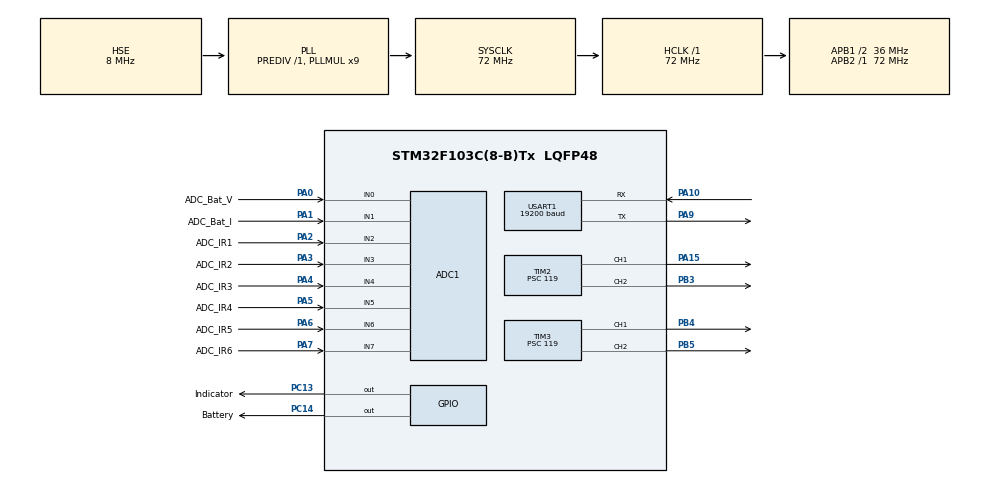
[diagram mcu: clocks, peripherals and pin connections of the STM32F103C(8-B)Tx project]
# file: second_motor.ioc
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ADC1.AutoInjectedConv=DISABLE
ADC1.Channel-0\#ChannelRegularConversion=ADC_CHANNEL_0
ADC1.Channel-1\#ChannelRegularConversion=ADC_CHANNEL_1
ADC1.Channel-2\#ChannelRegularConversion=ADC_CHANNEL_2
ADC1.Channel-3\#ChannelRegularConversion=ADC_CHANNEL_3
ADC1.Channel-4\#ChannelRegularConversion=ADC_CHANNEL_4
ADC1.Channel-5\#ChannelRegularConversion=ADC_CHANNEL_5
ADC1.Channel-6\#ChannelRegularConversion=ADC_CHANNEL_6
ADC1.Channel-7\#ChannelRegularConversion=ADC_CHANNEL_7
ADC1.ContinuousConvMode=ENABLE
ADC1.DataAlign=ADC_DATAALIGN_RIGHT
ADC1.DiscontinuousConvMode=DISABLE
ADC1.EnableAnalogWatchDog=false
ADC1.EnableRegularConversion=ENABLE
ADC1.ExternalTrigConv=ADC_SOFTWARE_START
ADC1.InjNumberOfConversion=0
ADC1.InjectedDiscontinuousConvMode=DISABLE
ADC1.NbrOfConversion=8
ADC1.NbrOfConversionFlag=1
ADC1.Rank-0\#ChannelRegularConversion=1
ADC1.Rank-1\#ChannelRegularConversion=2
ADC1.Rank-2\#ChannelRegularConversion=3
ADC1.Rank-3\#ChannelRegularConversion=4
ADC1.Rank-4\#ChannelRegularConversion=5
ADC1.Rank-5\#ChannelRegularConversion=6
ADC1.Rank-6\#ChannelRegularConversion=7
ADC1.Rank-7\#ChannelRegularConversion=8
ADC1.SamplingTime-0\#ChannelRegularConversion=ADC_SAMPLETIME_1CYCLE_5
ADC1.SamplingTime-1\#ChannelRegularConversion=ADC_SAMPLETIME_1CYCLE_5
ADC1.SamplingTime-2\#ChannelRegularConversion=ADC_SAMPLETIME_1CYCLE_5
ADC1.SamplingTime-3\#ChannelRegularConversion=ADC_SAMPLETIME_1CYCLE_5
ADC1.SamplingTime-4\#ChannelRegularConversion=ADC_SAMPLETIME_1CYCLE_5
ADC1.SamplingTime-5\#ChannelRegularConversion=ADC_SAMPLETIME_1CYCLE_5
ADC1.SamplingTime-6\#ChannelRegularConversion=ADC_SAMPLETIME_1CYCLE_5
ADC1.SamplingTime-7\#ChannelRegularConversion=ADC_SAMPLETIME_1CYCLE_5
ADC1.ScanConvMode=ADC_SCAN_ENABLE
ADC1.master=1
Dma.ADC1.0.Direction=DMA_PERIPH_TO_MEMORY
Dma.ADC1.0.Instance=DMA1_Channel1
Dma.ADC1.0.MemDataAlignment=DMA_MDATAALIGN_HALFWORD
Dma.ADC1.0.MemInc=DMA_MINC_ENABLE
Dma.ADC1.0.Mode=DMA_CIRCULAR
Dma.ADC1.0.PeriphDataAlignment=DMA_PDATAALIGN_HALFWORD
Dma.ADC1.0.PeriphInc=DMA_PINC_DISABLE
Dma.ADC1.0.Priority=DMA_PRIORITY_LOW
Dma.Request0=ADC1
FREERTOS.INCLUDE_xTaskAbortDelay=0
FREERTOS.INCLUDE_xTaskGetHandle=0
FREERTOS.MEMORY_ALLOCATION=0
FREERTOS.Queues01=Status,16,uint16_t,NULL
FREERTOS.Tasks01=IndicatorTask,0,128,StartIndicatorTask,Default,NULL,Dynamic,NULL,NULL;UARTTask,-3,128,StartUARTTask,Default,NULL,Dynamic,NULL,NULL;StatusTask,-3,128,StartStatusTask,Default,NULL,Dynamic,NULL,NULL
FREERTOS.configUSE_DAEMON_TASK_STARTUP_HOOK=0
Mcu.Family=STM32F1
Mcu.Name=STM32F103C(8-B)Tx
Mcu.Package=LQFP48
NVIC.DMA1_Channel1_IRQn=true\:5\:0\:false\:false\:true\:true
NVIC.PriorityGroup=NVIC_PRIORITYGROUP_4
NVIC.TIM1_UP_IRQn=true\:0\:0\:false\:false\:true\:false
NVIC.TimeBase=TIM1_UP_IRQn
NVIC.TimeBaseIP=TIM1
NVIC.USART1_IRQn=true\:5\:0\:false\:false\:true\:true
PA0-WKUP.GPIO_Label=ADC_Bat_V
PA0-WKUP.Signal=ADCx_IN0
PA1.GPIO_Label=ADC_Bat_I
PA1.Signal=ADCx_IN1
PA10.Mode=Asynchronous
PA10.Signal=USART1_RX
PA13.Mode=Serial_Wire
PA13.Signal=SYS_JTMS-SWDIO
PA14.Mode=Serial_Wire
PA14.Signal=SYS_JTCK-SWCLK
PA15.Signal=S_TIM2_CH1_ETR
PA2.GPIO_Label=ADC_IR1
PA2.Signal=ADCx_IN2
PA3.GPIO_Label=ADC_IR2
PA3.Signal=ADCx_IN3
PA4.GPIO_Label=ADC_IR3
PA4.Signal=ADCx_IN4
PA5.GPIO_Label=ADC_IR4
PA5.Signal=ADCx_IN5
PA6.GPIO_Label=ADC_IR5
PA6.Signal=ADCx_IN6
PA7.GPIO_Label=ADC_IR6
PA7.Signal=ADCx_IN7
PA9.Mode=Asynchronous
PA9.Signal=USART1_TX
PB3.Signal=S_TIM2_CH2
PB4.Signal=S_TIM3_CH1
PB5.Signal=S_TIM3_CH2
PC13-TAMPER-RTC.GPIO_Label=Indicator
PC13-TAMPER-RTC.Signal=GPIO_Output
PC14-OSC32_IN.GPIO_Label=Battery
PC14-OSC32_IN.Signal=GPIO_Output
PD0-OSC_IN.Mode=HSE-External-Oscillator
PD0-OSC_IN.Signal=RCC_OSC_IN
PD1-OSC_OUT.Mode=HSE-External-Oscillator
PD1-OSC_OUT.Signal=RCC_OSC_OUT
ProjectManager.HeapSize=0x200
ProjectManager.StackSize=0x400
ProjectManager.TargetToolchain=SW4STM32
RCC.ADCPresc=RCC_ADCPCLK2_DIV6
RCC.AHBFreq_Value=72000000
RCC.APB1CLKDivider=RCC_HCLK_DIV2
RCC.APB1Freq_Value=36000000
RCC.APB1TimFreq_Value=72000000
RCC.APB2Freq_Value=72000000
RCC.APB2TimFreq_Value=72000000
RCC.ClockTypeHCLK=RCC_CLOCKTYPE_HCLK
RCC.ClockTypePCLK1=RCC_CLOCKTYPE_PCLK1
RCC.ClockTypePCLK2=RCC_CLOCKTYPE_PCLK2
RCC.EnableHSE=true
RCC.EnableHSERTCDevisor=false
RCC.EnableLSE=false
RCC.EnableLSERTC=false
RCC.EnableMCOMultDivisor=false
RCC.HCLKFreq_Value=72000000
RCC.HSEState=RCC_HSE_ON
RCC.HSIState=RCC_HSI_ON
RCC.IWDGEnable=false
RCC.LSIState=RCC_LSI_OFF
RCC.MCOEnable=false
RCC.OscillatorTypeHSE=RCC_OSCILLATORTYPE_HSE
RCC.PLLMUL=RCC_PLL_MUL9
RCC.PLLSource=RCC_PLLSOURCE_HSE
RCC.PLLSourceVirtual=RCC_PLLSOURCE_HSE
RCC.PLLState=RCC_PLL_ON
RCC.RTCEnable=false
RCC.SYSCLKFreq_VALUE=72000000
RCC.SYSCLKSource=RCC_SYSCLKSOURCE_PLLCLK
RCC.USBFreq_Value=72000000
SH.ADCx_IN0.0=ADC1_IN0,IN0
SH.ADCx_IN1.0=ADC1_IN1,IN1
SH.ADCx_IN2.0=ADC1_IN2,IN2
SH.ADCx_IN3.0=ADC1_IN3,IN3
SH.ADCx_IN4.0=ADC1_IN4,IN4
SH.ADCx_IN5.0=ADC1_IN5,IN5
SH.ADCx_IN6.0=ADC1_IN6,IN6
SH.ADCx_IN7.0=ADC1_IN7,IN7
SH.S_TIM2_CH1_ETR.0=TIM2_CH1,PWM Generation1 CH1
SH.S_TIM2_CH2.0=TIM2_CH2,PWM Generation2 CH2
SH.S_TIM3_CH1.0=TIM3_CH1,PWM Generation1 CH1
SH.S_TIM3_CH2.0=TIM3_CH2,PWM Generation2 CH2
TIM2.Channel-PWM\ Generation1\ CH1=TIM_CHANNEL_1
TIM2.Channel-PWM\ Generation2\ CH2=TIM_CHANNEL_2
TIM2.Period=100
TIM2.Prescaler=119
TIM3.Channel-PWM\ Generation1\ CH1=TIM_CHANNEL_1
TIM3.Channel-PWM\ Generation2\ CH2=TIM_CHANNEL_2
TIM3.Period=100
TIM3.Prescaler=119
USART1.BaudRate=19200
USART1.HwFlowCtl-Asynchronous=UART_HWCONTROL_NONE
USART1.VirtualMode=VM_ASYNC
VP_FREERTOS_VS_ENABLE.Mode=Enabled
VP_SYS_VS_tim1.Mode=TIM1
board=second_motor

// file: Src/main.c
/**
  ******************************************************************************
  * File Name          : main.c
  * Description        : Main program body
  ******************************************************************************
  *
  * Copyright (c) 2017 STMicroelectronics International N.V.
  * All rights reserved.
  *
  * Redistribution and use in source and binary forms, with or without
  * modification, are permitted, provided that the following conditions are met:
  *
  * 1. Redistribution of source code must retain the above copyright notice,
  *    this list of conditions and the following disclaimer.
  * 2. Redistributions in binary form must reproduce the above copyright notice,
  *    this list of conditions and the following disclaimer in the documentation
  *    and/or other materials provided with the distribution.
  * 3. Neither the name of STMicroelectronics nor the names of other
  *    contributors to this software may be used to endorse or promote products
  *    derived from this software without specific written permission.
  * 4. This software, including modifications and/or derivative works of this
  *    software, must execute solely and exclusively on microcontroller or
  *    microprocessor devices manufactured by or for STMicroelectronics.
  * 5. Redistribution and use of this software other than as permitted under
  *    this license is void and will automatically terminate your rights under
  *    this license.
  *
  * THIS SOFTWARE IS PROVIDED BY STMICROELECTRONICS AND CONTRIBUTORS "AS IS"
  * AND ANY EXPRESS, IMPLIED OR STATUTORY WARRANTIES, INCLUDING, BUT NOT
  * LIMITED TO, THE IMPLIED WARRANTIES OF MERCHANTABILITY, FITNESS FOR A
  * PARTICULAR PURPOSE AND NON-INFRINGEMENT OF THIRD PARTY INTELLECTUAL PROPERTY
  * RIGHTS ARE DISCLAIMED TO THE FULLEST EXTENT PERMITTED BY LAW. IN NO EVENT
  * SHALL STMICROELECTRONICS OR CONTRIBUTORS BE LIABLE FOR ANY DIRECT, INDIRECT,
  * INCIDENTAL, SPECIAL, EXEMPLARY, OR CONSEQUENTIAL DAMAGES (INCLUDING, BUT NOT
  * LIMITED TO, PROCUREMENT OF SUBSTITUTE GOODS OR SERVICES; LOSS OF USE, DATA,
  * OR PROFITS; OR BUSINESS INTERRUPTION) HOWEVER CAUSED AND ON ANY THEORY OF
  * LIABILITY, WHETHER IN CONTRACT, STRICT LIABILITY, OR TORT (INCLUDING
  * NEGLIGENCE OR OTHERWISE) ARISING IN ANY WAY OUT OF THE USE OF THIS SOFTWARE,
  * EVEN IF ADVISED OF THE POSSIBILITY OF SUCH DAMAGE.
  *
  ******************************************************************************
  */
#include "main.h"
#include "stm32f1xx_hal.h"
#include "cmsis_os.h"
#include "adc.h"
#include "dma.h"
#include "tim.h"
#include "usart.h"
#include "gpio.h"

/* USER CODE BEGIN Includes */
#include "func.h"
/* USER CODE END Includes */

/* USER CODE BEGIN PV */
/* Private variables ---------------------------------------------------------*/

/* USER CODE END PV */

void SystemClock_Config(void);
void Error_Handler(void);
void MX_FREERTOS_Init(void);

/* USER CODE BEGIN PFP */
/* Private function prototypes -----------------------------------------------*/

/* USER CODE END PFP */

int main(void)
{

  /* MCU Configuration----------------------------------------------------------*/

  /* Reset of all peripherals, Initializes the Flash interface and the Systick. */
  HAL_Init();

  /* Configure the system clock */
  SystemClock_Config();

  /* Initialize all configured peripherals */
  MX_GPIO_Init();
  MX_DMA_Init();
  MX_TIM2_Init();
  MX_TIM3_Init();
  MX_USART1_UART_Init();
  MX_ADC1_Init();

  /* USER CODE BEGIN 2 */
  HAL_ADC_Start_DMA(&hadc1, (uint32_t *)adcResult, 8);
  /* USER CODE END 2 */

  /* Call init function for freertos objects (in freertos.c) */
  MX_FREERTOS_Init();

  /* Start scheduler */
  osKernelStart();

  /* We should never get here as control is now taken by the scheduler */

  /* Infinite loop */
  while (1)
  {

  }

}

/** System Clock Configuration
*/
void SystemClock_Config(void)
{

  RCC_OscInitTypeDef RCC_OscInitStruct;
  RCC_ClkInitTypeDef RCC_ClkInitStruct;
  RCC_PeriphCLKInitTypeDef PeriphClkInit;

    /**Initializes the CPU, AHB and APB busses clocks
    */
  RCC_OscInitStruct.OscillatorType = RCC_OSCILLATORTYPE_HSE;
  RCC_OscInitStruct.HSEState = RCC_HSE_ON;
  RCC_OscInitStruct.HSEPredivValue = RCC_HSE_PREDIV_DIV1;
  RCC_OscInitStruct.PLL.PLLState = RCC_PLL_ON;
  RCC_OscInitStruct.PLL.PLLSource = RCC_PLLSOURCE_HSE;
  RCC_OscInitStruct.PLL.PLLMUL = RCC_PLL_MUL9;
  if (HAL_RCC_OscConfig(&RCC_OscInitStruct) != HAL_OK)
  {
    Error_Handler();
  }

    /**Initializes the CPU, AHB and APB busses clocks
    */
  RCC_ClkInitStruct.ClockType = RCC_CLOCKTYPE_HCLK|RCC_CLOCKTYPE_SYSCLK
                              |RCC_CLOCKTYPE_PCLK1|RCC_CLOCKTYPE_PCLK2;
  RCC_ClkInitStruct.SYSCLKSource = RCC_SYSCLKSOURCE_PLLCLK;
  RCC_ClkInitStruct.AHBCLKDivider = RCC_SYSCLK_DIV1;
  RCC_ClkInitStruct.APB1CLKDivider = RCC_HCLK_DIV2;
  RCC_ClkInitStruct.APB2CLKDivider = RCC_HCLK_DIV1;

  if (HAL_RCC_ClockConfig(&RCC_ClkInitStruct, FLASH_LATENCY_2) != HAL_OK)
  {
    Error_Handler();
  }

  PeriphClkInit.PeriphClockSelection = RCC_PERIPHCLK_ADC;
  PeriphClkInit.AdcClockSelection = RCC_ADCPCLK2_DIV6;
  if (HAL_RCCEx_PeriphCLKConfig(&PeriphClkInit) != HAL_OK)
  {
    Error_Handler();
  }

    /**Configure the Systick interrupt time
    */
  HAL_SYSTICK_Config(HAL_RCC_GetHCLKFreq()/1000);

    /**Configure the Systick
    */
  HAL_SYSTICK_CLKSourceConfig(SYSTICK_CLKSOURCE_HCLK);

  /* SysTick_IRQn interrupt configuration */
  HAL_NVIC_SetPriority(SysTick_IRQn, 15, 0);
}

void HAL_TIM_PeriodElapsedCallback(TIM_HandleTypeDef *htim)
{
  if (htim->Instance == TIM1) {
    HAL_IncTick();
  }
}

void Error_Handler(void)
{
  while(1)
  {
  }
}

/************************ (C) COPYRIGHT STMicroelectronics *****END OF FILE****/

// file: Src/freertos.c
/**
  ******************************************************************************
  * File Name          : freertos.c
  * Description        : Code for freertos applications
  ******************************************************************************
  *
  * Copyright (c) 2017 STMicroelectronics International N.V.
  * All rights reserved.
  *
  * Redistribution and use in source and binary forms, with or without
  * modification, are permitted, provided that the following conditions are met:
  *
  * 1. Redistribution of source code must retain the above copyright notice,
  *    this list of conditions and the following disclaimer.
  * 2. Redistributions in binary form must reproduce the above copyright notice,
  *    this list of conditions and the following disclaimer in the documentation
  *    and/or other materials provided with the distribution.
  * 3. Neither the name of STMicroelectronics nor the names of other
  *    contributors to this software may be used to endorse or promote products
  *    derived from this software without specific written permission.
  * 4. This software, including modifications and/or derivative works of this
  *    software, must execute solely and exclusively on microcontroller or
  *    microprocessor devices manufactured by or for STMicroelectronics.
  * 5. Redistribution and use of this software other than as permitted under
  *    this license is void and will automatically terminate your rights under
  *    this license.
  *
  * THIS SOFTWARE IS PROVIDED BY STMICROELECTRONICS AND CONTRIBUTORS "AS IS"
  * AND ANY EXPRESS, IMPLIED OR STATUTORY WARRANTIES, INCLUDING, BUT NOT
  * LIMITED TO, THE IMPLIED WARRANTIES OF MERCHANTABILITY, FITNESS FOR A
  * PARTICULAR PURPOSE AND NON-INFRINGEMENT OF THIRD PARTY INTELLECTUAL PROPERTY
  * RIGHTS ARE DISCLAIMED TO THE FULLEST EXTENT PERMITTED BY LAW. IN NO EVENT
  * SHALL STMICROELECTRONICS OR CONTRIBUTORS BE LIABLE FOR ANY DIRECT, INDIRECT,
  * INCIDENTAL, SPECIAL, EXEMPLARY, OR CONSEQUENTIAL DAMAGES (INCLUDING, BUT NOT
  * LIMITED TO, PROCUREMENT OF SUBSTITUTE GOODS OR SERVICES; LOSS OF USE, DATA,
  * OR PROFITS; OR BUSINESS INTERRUPTION) HOWEVER CAUSED AND ON ANY THEORY OF
  * LIABILITY, WHETHER IN CONTRACT, STRICT LIABILITY, OR TORT (INCLUDING
  * NEGLIGENCE OR OTHERWISE) ARISING IN ANY WAY OUT OF THE USE OF THIS SOFTWARE,
  * EVEN IF ADVISED OF THE POSSIBILITY OF SUCH DAMAGE.
  *
  ******************************************************************************
  */

#include "FreeRTOS.h"
#include "task.h"
#include "cmsis_os.h"

/* USER CODE BEGIN Includes */
#include "gpio.h"
#include "request.h"
/* USER CODE END Includes */

osThreadId IndicatorTaskHandle;
osThreadId UARTTaskHandle;
osThreadId StatusTaskHandle;
osMessageQId StatusHandle;

void StartIndicatorTask(void const * argument);
void StartUARTTask(void const * argument);
void StartStatusTask(void const * argument);

void MX_FREERTOS_Init(void); /* (MISRA C 2004 rule 8.1) */

/* Hook prototypes */

/* Init FreeRTOS */

void MX_FREERTOS_Init(void) {

  /* Create the thread(s) */
  /* definition and creation of IndicatorTask */
  osThreadDef(IndicatorTask, StartIndicatorTask, osPriorityNormal, 0, 128);
  IndicatorTaskHandle = osThreadCreate(osThread(IndicatorTask), NULL);

  /* definition and creation of UARTTask */
  osThreadDef(UARTTask, StartUARTTask, osPriorityIdle, 0, 128);
  UARTTaskHandle = osThreadCreate(osThread(UARTTask), NULL);

  /* definition and creation of StatusTask */
  osThreadDef(StatusTask, StartStatusTask, osPriorityIdle, 0, 128);
  StatusTaskHandle = osThreadCreate(osThread(StatusTask), NULL);

  /* Create the queue(s) */
  /* definition and creation of Status */
  osMessageQDef(Status, 16, uint16_t);
  StatusHandle = osMessageCreate(osMessageQ(Status), NULL);

}

/* StartIndicatorTask function */
void StartIndicatorTask(void const * argument)
{

  /* USER CODE BEGIN StartIndicatorTask */
  StatusTypeDef status;
  uint16_t timeOn = 100;
  uint16_t timeOff = 1000;

  /* Infinite loop */
  for(;;)
  {
    /* Message receive */
    if (xQueueReceive(StatusHandle, &status, 0))
    {
      if (status == STATUS_OK)
      {
        timeOn = 100;
        timeOff = 1000;
      }
      if (status == STATUS_ERROR)
      {
        timeOn = 100;
        timeOff = 100;
      }
      if (status == STATUS_POWER_LOW)
      {
        HAL_GPIO_WritePin(Battery_GPIO_Port, Battery_Pin, GPIO_PIN_SET);
      }
      if (status == STATUS_POWER_NORMAL)
      {
        HAL_GPIO_WritePin(Battery_GPIO_Port, Battery_Pin, GPIO_PIN_RESET);
      }
    }

    /* Blink led indicator */
    HAL_GPIO_WritePin(Indicator_GPIO_Port, Indicator_Pin, GPIO_PIN_RESET);
    osDelay(timeOn);
    HAL_GPIO_WritePin(Indicator_GPIO_Port, Indicator_Pin, GPIO_PIN_SET);
    osDelay(timeOff);

  }
  /* USER CODE END StartIndicatorTask */
}

/* StartUARTTask function */
void StartUARTTask(void const * argument)
{
  /* USER CODE BEGIN StartUARTTask */
  StatusTypeDef status;
  StatusTypeDef status_last = STATUS_NONE;

  RequestStart();

  /* Infinite loop */
  for(;;)
  {
    status = RequestNext();

    /* check status */
    if (status_last != status)
    {
      status_last = status;
      xQueueSend(StatusHandle, &status, 0);
    }
  }
  /* USER CODE END StartUARTTask */
}

/* StartStatusTask function */
void StartStatusTask(void const * argument)
{
  /* USER CODE BEGIN StartStatusTask */
  StatusTypeDef status;
  StatusTypeDef status_last = STATUS_NONE;

  /* Infinite loop */
  for(;;)
  {
    float battery_V = GetBatteryVoltage();
    if (battery_V < 10.0)
    {
      status = STATUS_POWER_LOW;
    }
    else
    {
      status = STATUS_POWER_NORMAL;
    }

    /* check status */
    if (status_last != status)
    {
      status_last = status;
      xQueueSend(StatusHandle, &status, 0);
    }
    osDelay(1000);
  }
  /* USER CODE END StartStatusTask */
}

/************************ (C) COPYRIGHT STMicroelectronics *****END OF FILE****/
